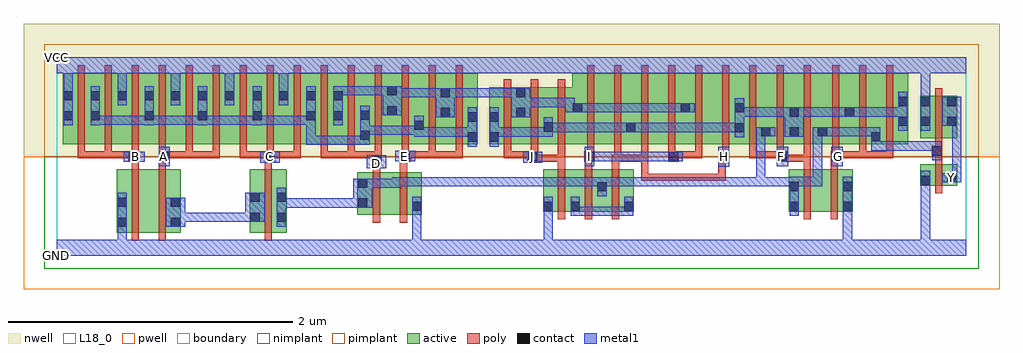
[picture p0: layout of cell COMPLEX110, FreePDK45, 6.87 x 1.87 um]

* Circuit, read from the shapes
.subckt COMPLEX110 A B C D E F G GND H I J VCC Y
M1 n1 B GND VSUBS nfet w=0.45u l=0.05u
M2 n2 A n1 VSUBS nfet w=0.45u l=0.05u
M3 n3 C n2 VSUBS nfet w=0.45u l=0.05u
M4 n4 D n3 VSUBS nfet w=0.3u l=0.05u
M5 GND E n4 VSUBS nfet w=0.3u l=0.05u
M6 n5 J GND VSUBS nfet w=0.3u l=0.05u
M7 n3 I n5 VSUBS nfet w=0.3u l=0.05u
M8 n5 H n3 VSUBS nfet w=0.3u l=0.05u
M9 n6 F n3 VSUBS nfet w=0.3u l=0.05u
M10 GND G n6 VSUBS nfet w=0.3u l=0.05u
M11 Y n3 GND VSUBS nfet w=0.15u l=0.05u
M12 n7 B VCC n8 pfet w=0.5u l=0.05u m=3
M13 VCC A n7 n8 pfet w=0.5u l=0.05u m=3
M14 n7 C VCC n8 pfet w=0.5u l=0.05u m=3
M15 n9 D n7 n8 pfet w=0.5u l=0.05u m=3
M16 n7 E n9 n8 pfet w=0.5u l=0.05u m=3
M17 n9 J n10 n8 pfet w=0.4u l=0.05u m=3
M18 n11 I n9 n8 pfet w=0.5u l=0.05u
M19 n10 H n11 n8 pfet w=0.5u l=0.05u
M20 n12 H n10 n8 pfet w=0.5u l=0.05u
M21 n9 I n12 n8 pfet w=0.5u l=0.05u
M22 n13 I n9 n8 pfet w=0.5u l=0.05u
M23 n10 H n13 n8 pfet w=0.5u l=0.05u
M24 n3 F n10 n8 pfet w=0.5u l=0.05u m=3
M25 n10 G n3 n8 pfet w=0.5u l=0.05u m=3
M26 Y n3 VCC n8 pfet w=0.3u l=0.05u
.ends

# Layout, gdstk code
import gdstk
lib = gdstk.Library(unit=1e-6, precision=1e-09)
def R(c, l, rs):  # rectangles x0, y0, x1, y1
    for r in rs: c.add(gdstk.rectangle(r[:2], r[2:], *l))
def A(c, l, x, y, w, h, nx, ny, dx, dy):  # array of equal rectangles
    R(c, l, [(x+i*dx, y+j*dy, x+i*dx+w, y+j*dy+h) for i in range(nx) for j in range(ny)])
active = (1, 0)
pwell = (2, 0)
nwell = (3, 0)
nimplant = (4, 0)
pimplant = (5, 0)
poly = (9, 0)
contact = (10, 0)
metal1 = (11, 0)
L18_0 = (18, 0)
boundary = (235, 0)

complex110 = lib.new_cell('COMPLEX110')
A(complex110, active, 0.042, 0.787, 0.265, 0.5, 3, 1, 0.19, 0)
A(complex110, active, 1.752, 0.787, 0.265, 0.5, 4, 1, 0.19, 0)
A(complex110, active, 0.797, 0.807, 0.075, 0.448, 3, 1, 0.38, 0)
R(complex110, active, [(0.422,0.162,0.647,0.612), (0.647,0.162,0.872,0.612), (1.357,0.162,1.617,0.612), (0.422,0.182,0.497,0.612), (0.797,0.195,0.872,0.612), (1.357,0.195,1.432,0.612), (1.542,0.195,1.617,0.612), (2.115,0.29,2.345,0.59), (2.345,0.29,2.57,0.59), (2.495,0.29,2.57,0.59), (3.422,0.312,3.497,0.612), (3.422,0.312,3.687,0.612), (3.612,0.312,3.875,0.612), (3.612,0.312,3.687,0.497), (3.8,0.312,4.062,0.612), (3.987,0.312,4.062,0.612), (5.152,0.312,5.227,0.612), (5.152,0.312,5.377,0.612), (5.377,0.312,5.602,0.612), (5.527,0.312,5.602,0.612), (3.8,0.33,3.875,0.525), (2.115,0.332,2.19,0.59), (6.077,0.495,6.152,0.645), (6.077,0.495,6.337,0.645), (6.262,0.495,6.337,0.645), (0.042,0.787,0.117,1.287), (0.612,0.787,0.872,1.287), (0.797,0.787,1.062,1.287), (0.987,0.787,1.252,1.287), (1.177,0.787,1.447,1.287), (1.372,0.787,1.632,1.287), (1.557,0.787,1.827,1.287), (2.132,0.787,2.207,1.07), (2.512,0.787,2.587,1.07), (2.512,0.787,2.772,1.287), (2.697,0.787,2.962,1.287), (2.887,0.787,2.962,1.07), (3.042,0.787,3.117,1.07), (3.042,0.787,3.302,1.187), (3.227,0.787,3.497,1.187), (3.422,0.787,3.497,1.07), (3.422,0.787,3.702,1.187), (3.627,0.787,3.852,1.287), (3.852,0.787,4.077,1.287), (4.002,0.787,4.232,1.287), (4.232,0.787,4.46,1.287), (4.385,0.787,4.612,1.287), (4.612,0.787,4.842,1.287), (4.767,0.787,5.027,1.287), (4.952,0.787,5.227,1.287), (5.152,0.787,5.427,1.287), (5.352,0.787,5.617,1.287), (5.542,0.787,5.802,1.287), (5.727,0.787,5.992,1.287), (5.727,0.787,5.802,1.07), (5.917,0.787,5.992,1.2), (0.232,0.807,0.307,1.2), (0.422,0.807,0.497,1.255), (0.612,0.807,0.687,1.2), (0.987,0.807,1.062,1.2), (1.372,0.807,1.447,1.2), (1.752,0.807,1.827,1.2), (1.942,0.807,2.017,1.2), (2.322,0.807,2.397,1.2), (2.697,0.807,2.772,1.2), (4.002,0.807,4.077,1.07), (4.385,0.807,4.46,1.2), (4.767,0.807,4.842,1.2), (4.952,0.807,5.027,1.07), (5.152,0.807,5.227,1.2), (5.352,0.807,5.427,1.07), (5.542,0.807,5.617,1.2), (6.077,0.827,6.152,1.125), (6.077,0.827,6.337,1.127), (6.262,0.827,6.337,1.125), (3.227,0.907,3.302,1.187), (3.627,0.907,3.702,1.2)])
R(complex110, pwell, [(-0.235,-0.235,6.635,0.7)])
R(complex110, nwell, [(-0.235,0.7,6.635,1.635)])
R(complex110, nimplant, [(-0.09,-0.09,6.49,0.7)])
R(complex110, pimplant, [(-0.09,0.7,6.49,1.49)])
A(complex110, poly, 3.527, 0.257, 0.05, 0.41, 3, 1, 0.19, 0)
A(complex110, poly, 3.527, 0.617, 0.05, 0.095, 3, 1, 0.19, 0)
A(complex110, poly, 0.147, 0.687, 0.05, 0.095, 15, 1, 0.19, 0)
A(complex110, poly, 4.302, 0.687, 0.05, 0.095, 4, 1, 0.19, 0)
A(complex110, poly, 5.457, 0.687, 0.05, 0.095, 3, 1, 0.19, 0)
A(complex110, poly, 0.147, 0.732, 0.05, 0.61, 15, 1, 0.19, 0)
A(complex110, poly, 3.147, 0.732, 0.05, 0.51, 3, 1, 0.19, 0)
A(complex110, poly, 3.732, 0.732, 0.05, 0.61, 7, 1, 0.19, 0)
A(complex110, poly, 5.457, 0.732, 0.05, 0.61, 3, 1, 0.19, 0)
R(complex110, poly, [(0.527,0.107,0.577,0.667), (0.717,0.107,0.767,0.667), (1.462,0.107,1.512,0.667), (2.225,0.235,2.275,0.645), (2.415,0.235,2.465,0.645), (5.257,0.257,5.307,0.667), (5.447,0.257,5.497,0.667), (6.182,0.44,6.232,0.7), (4.112,0.53,4.162,0.712), (4.112,0.53,4.295,0.58), (4.245,0.53,4.295,0.58), (4.245,0.53,4.295,0.58), (4.245,0.53,4.295,0.58), (4.245,0.53,4.575,0.58), (4.525,0.53,4.575,0.58), (4.525,0.53,4.575,0.58), (4.525,0.53,4.575,0.58), (4.525,0.53,4.707,0.58), (4.657,0.53,4.707,0.58), (4.657,0.53,4.707,0.712), (2.225,0.595,2.275,0.69), (2.415,0.595,2.465,0.712), (0.527,0.617,0.577,0.712), (0.717,0.617,0.767,0.712), (1.462,0.617,1.512,0.712), (5.257,0.617,5.307,0.712), (5.447,0.617,5.497,0.712), (2.212,0.64,2.287,0.737), (6.182,0.65,6.232,0.752), (0.502,0.662,0.577,0.737), (0.717,0.662,0.792,0.737), (1.462,0.662,1.537,0.737), (2.415,0.662,2.49,0.737), (3.312,0.662,3.387,0.737), (3.337,0.662,3.577,0.712), (3.527,0.662,3.577,0.712), (3.527,0.662,3.577,0.712), (3.527,0.662,3.577,0.712), (3.527,0.662,3.577,0.782), (3.712,0.662,3.787,0.737), (3.907,0.662,3.972,0.712), (3.922,0.662,3.972,0.712), (3.922,0.662,3.972,0.712), (3.922,0.662,4.162,0.712), (3.922,0.662,3.972,0.782), (4.112,0.662,4.162,0.712), (4.112,0.662,4.162,0.712), (4.112,0.662,4.162,0.712), (4.112,0.662,4.162,0.712), (4.112,0.662,4.162,0.712), (4.112,0.662,4.162,0.712), (4.112,0.662,4.162,0.782), (4.302,0.662,4.377,0.737), (4.657,0.662,4.732,0.737), (4.657,0.662,4.707,0.712), (4.657,0.662,4.707,0.712), (5.067,0.662,5.142,0.737), (5.092,0.662,5.142,0.712), (5.092,0.662,5.142,0.712), (5.092,0.662,5.307,0.712), (5.257,0.662,5.307,0.712), (5.257,0.662,5.307,0.782), (5.447,0.662,5.522,0.737), (0.147,0.687,0.197,0.737), (0.147,0.687,0.387,0.737), (0.337,0.687,0.387,0.737), (0.337,0.687,0.387,0.737), (0.337,0.687,0.387,0.737), (0.337,0.687,0.552,0.737), (0.502,0.687,0.552,0.737), (0.502,0.687,0.552,0.737), (0.742,0.687,0.792,0.737), (0.742,0.687,0.792,0.737), (0.742,0.687,0.957,0.737), (0.907,0.687,0.957,0.737), (0.907,0.687,1.147,0.737), (1.097,0.687,1.147,0.737), (1.097,0.687,1.147,0.737), (1.097,0.687,1.147,0.737), (1.287,0.687,1.337,0.737), (1.287,0.687,1.512,0.737), (1.462,0.687,1.512,0.737), (1.462,0.687,1.512,0.737), (1.487,0.687,1.717,0.737), (1.667,0.687,1.717,0.737), (1.667,0.687,1.717,0.737), (1.667,0.687,1.717,0.737), (1.857,0.687,1.907,0.737), (1.857,0.687,1.907,0.737), (1.857,0.687,1.907,0.737), (1.857,0.687,2.097,0.737), (2.047,0.687,2.097,0.737), (2.047,0.687,2.262,0.737), (2.212,0.687,2.262,0.737), (2.212,0.687,2.262,0.737), (2.44,0.687,2.49,0.737), (2.44,0.687,2.49,0.737), (2.44,0.687,2.667,0.737), (2.617,0.687,2.667,0.737), (2.617,0.687,2.667,0.737), (2.617,0.687,2.667,0.737), (2.617,0.687,2.857,0.737), (2.807,0.687,2.857,0.737), (3.147,0.687,3.197,0.782), (3.147,0.687,3.197,0.737), (3.147,0.687,3.362,0.737), (3.312,0.687,3.362,0.737), (3.312,0.687,3.362,0.737), (3.337,0.687,3.387,0.782), (3.732,0.687,3.782,0.782), (4.327,0.687,4.377,0.737), (4.327,0.687,4.377,0.737), (4.327,0.687,4.542,0.737), (4.492,0.687,4.542,0.737), (4.872,0.687,4.922,0.737), (4.872,0.687,4.922,0.737), (4.872,0.687,4.922,0.737), (4.872,0.687,5.117,0.737), (5.067,0.687,5.117,0.782), (5.472,0.687,5.697,0.737), (5.647,0.687,5.697,0.737), (5.647,0.687,5.697,0.737), (5.647,0.687,5.697,0.737), (5.647,0.687,5.887,0.737), (5.837,0.687,5.887,0.737), (5.837,0.687,5.887,0.737), (5.837,0.687,5.887,0.737), (6.157,0.702,6.232,0.777), (6.182,0.727,6.232,0.822), (5.067,0.732,5.117,1.342), (5.257,0.732,5.307,1.342), (6.182,0.772,6.232,1.182)])
A(complex110, contact, 0.047, 1.095, 0.065, 0.065, 4, 1, 0.19, 0)
A(complex110, contact, 0.802, 1.095, 0.065, 0.065, 3, 1, 0.19, 0)
R(complex110, contact, [(0.427,0.205,0.492,0.27), (0.802,0.205,0.867,0.27), (1.362,0.24,1.427,0.305), (1.547,0.24,1.612,0.305), (2.5,0.317,2.565,0.382), (3.427,0.317,3.492,0.382), (3.617,0.317,3.682,0.382), (3.992,0.317,4.057,0.382), (5.157,0.317,5.222,0.382), (5.532,0.317,5.597,0.382), (2.12,0.34,2.185,0.405), (0.427,0.345,0.492,0.41), (0.802,0.345,0.867,0.41), (1.362,0.38,1.427,0.445), (1.547,0.38,1.612,0.445), (3.805,0.455,3.87,0.52), (5.157,0.457,5.222,0.522), (5.532,0.457,5.597,0.522), (2.12,0.48,2.185,0.545), (6.082,0.5,6.147,0.565), (6.267,0.517,6.332,0.582), (2.217,0.645,2.282,0.71), (0.507,0.667,0.572,0.732), (0.722,0.667,0.787,0.732), (1.467,0.667,1.532,0.732), (2.42,0.667,2.485,0.732), (3.317,0.667,3.382,0.732), (3.717,0.667,3.782,0.732), (4.307,0.667,4.372,0.732), (4.662,0.667,4.727,0.732), (5.072,0.667,5.137,0.732), (5.452,0.667,5.517,0.732), (6.162,0.707,6.227,0.772), (2.892,0.805,2.957,0.87), (3.047,0.805,3.112,0.87), (5.732,0.807,5.797,0.872), (2.137,0.817,2.202,0.882), (5.157,0.84,5.222,0.905), (4.957,0.842,5.022,0.907), (5.357,0.842,5.422,0.907), (4.772,0.87,4.837,0.935), (4.007,0.872,4.072,0.937), (3.427,0.875,3.492,0.94), (2.517,0.887,2.582,0.952), (5.922,0.915,5.987,0.98), (6.082,0.915,6.147,0.98), (6.267,0.915,6.332,0.98), (2.892,0.945,2.957,1.01), (3.047,0.945,3.112,1.01), (0.047,0.955,0.112,1.02), (0.237,0.955,0.302,1.02), (0.617,0.955,0.682,1.02), (0.992,0.955,1.057,1.02), (1.377,0.955,1.442,1.02), (1.757,0.955,1.822,1.02), (1.947,0.955,2.012,1.02), (2.137,0.957,2.202,1.022), (2.702,0.977,2.767,1.042), (3.232,0.977,3.297,1.042), (5.157,0.98,5.222,1.045), (5.547,0.98,5.612,1.045), (2.327,0.99,2.392,1.055), (3.632,1.01,3.697,1.075), (4.39,1.01,4.455,1.075), (4.772,1.01,4.837,1.075), (5.922,1.055,5.987,1.12), (6.082,1.055,6.147,1.12), (6.267,1.055,6.332,1.12), (1.377,1.095,1.442,1.16), (1.562,1.095,1.627,1.16), (1.757,1.095,1.822,1.16), (1.947,1.095,2.012,1.16), (2.702,1.117,2.767,1.182), (3.232,1.117,3.297,1.182), (2.327,1.13,2.392,1.195)])
A(complex110, metal1, 3.805, 0.49, 0.202, 0.065, 3, 1, 0.275, 0)
A(complex110, metal1, 0.855, 0.922, 0.202, 0.065, 3, 1, 0.275, 0)
A(complex110, metal1, 3.667, 1.01, 0.203, 0.065, 3, 1, 0.275, 0)
A(complex110, metal1, 0.802, 1.06, 0.065, 0.135, 3, 1, 0.38, 0)
A(complex110, metal1, 0.802, 1.13, 0.065, 0.22, 3, 1, 0.38, 0)
R(complex110, metal1, [(0,0,6.4,0.115), (0.427,0.05,0.492,0.115), (0.427,0.05,0.492,0.115), (0.427,0.05,0.492,0.235), (2.5,0.05,2.565,0.347), (3.427,0.05,3.492,0.115), (3.427,0.05,3.492,0.115), (3.427,0.05,3.492,0.347), (5.532,0.05,5.597,0.347), (6.082,0.05,6.147,0.115), (6.082,0.05,6.147,0.115), (6.082,0.05,6.147,0.115), (6.082,0.05,6.147,0.115), (6.082,0.05,6.147,0.115), (6.082,0.05,6.147,0.115), (6.082,0.05,6.147,0.53), (0.427,0.17,0.492,0.445), (0.767,0.205,0.902,0.41), (1.547,0.205,1.612,0.48), (0.837,0.24,1.057,0.305), (0.992,0.24,1.057,0.305), (0.992,0.24,1.057,0.305), (0.992,0.24,1.057,0.305), (0.992,0.24,1.195,0.305), (1.13,0.24,1.195,0.305), (1.13,0.24,1.195,0.305), (1.13,0.24,1.195,0.305), (1.13,0.24,1.332,0.305), (1.267,0.24,1.332,0.305), (1.267,0.24,1.392,0.305), (1.327,0.24,1.462,0.445), (2.5,0.282,2.565,0.347), (2.5,0.282,2.565,0.347), (2.5,0.282,2.565,0.347), (2.5,0.282,2.565,0.347), (2.5,0.282,2.565,0.417), (3.427,0.282,3.492,0.347), (3.427,0.282,3.492,0.347), (3.427,0.282,3.492,0.417), (3.617,0.282,3.682,0.417), (3.617,0.282,3.87,0.347), (3.805,0.282,3.87,0.347), (3.805,0.282,3.87,0.347), (3.805,0.282,3.87,0.347), (3.805,0.282,4.007,0.347), (3.942,0.282,4.007,0.347), (3.942,0.282,4.057,0.347), (3.992,0.282,4.057,0.417), (5.157,0.282,5.222,0.557), (5.532,0.282,5.597,0.347), (5.532,0.282,5.597,0.347), (5.532,0.282,5.597,0.347), (5.532,0.282,5.597,0.347), (5.532,0.282,5.597,0.557), (1.547,0.34,1.612,0.405), (1.547,0.34,1.612,0.405), (1.547,0.34,1.875,0.405), (1.81,0.34,1.875,0.405), (1.81,0.34,1.875,0.405), (1.81,0.34,1.875,0.405), (1.81,0.34,2.012,0.405), (1.947,0.34,2.012,0.405), (1.947,0.34,2.012,0.405), (1.947,0.34,2.012,0.405), (1.947,0.34,2.15,0.405), (2.085,0.34,2.22,0.545), (3.805,0.42,3.87,0.555), (6.082,0.465,6.147,0.6), (2.155,0.48,2.22,0.545), (2.155,0.48,2.22,0.545), (2.155,0.48,2.427,0.545), (2.362,0.48,2.427,0.545), (2.362,0.48,2.427,0.545), (2.362,0.48,2.427,0.555), (2.362,0.49,2.582,0.555), (2.517,0.49,2.582,0.555), (2.517,0.49,2.582,0.555), (2.517,0.49,2.582,0.555), (2.517,0.49,2.82,0.555), (2.755,0.49,2.82,0.555), (2.755,0.49,2.82,0.555), (2.755,0.49,2.82,0.555), (2.755,0.49,2.975,0.555), (2.91,0.49,2.975,0.555), (2.91,0.49,3.112,0.555), (3.047,0.49,3.112,0.555), (3.047,0.49,3.112,0.555), (3.047,0.49,3.112,0.555), (3.047,0.49,3.25,0.555), (3.185,0.49,3.25,0.555), (3.185,0.49,3.25,0.555), (3.185,0.49,3.25,0.555), (3.185,0.49,3.47,0.555), (3.405,0.49,3.47,0.555), (3.405,0.49,3.645,0.555), (3.58,0.49,3.645,0.555), (3.58,0.49,3.645,0.555), (3.58,0.49,3.645,0.555), (3.58,0.49,3.87,0.555), (3.805,0.49,3.87,0.555), (3.805,0.49,3.87,0.555), (3.942,0.49,4.007,0.555), (3.942,0.49,4.145,0.555), (4.08,0.49,4.145,0.555), (4.08,0.49,4.145,0.555), (4.08,0.49,4.145,0.555), (4.217,0.49,4.282,0.555), (4.217,0.49,4.282,0.555), (4.217,0.49,4.282,0.555), (4.217,0.49,4.42,0.555), (4.355,0.49,4.42,0.555), (4.355,0.49,4.42,0.555), (4.355,0.49,4.42,0.555), (4.492,0.49,4.557,0.555), (4.492,0.49,4.557,0.555), (4.492,0.49,4.557,0.555), (4.492,0.49,4.832,0.555), (4.767,0.49,4.832,0.555), (4.767,0.49,4.832,0.555), (4.767,0.49,4.832,0.555), (4.767,0.49,4.987,0.555), (4.922,0.49,4.987,0.555), (4.922,0.49,4.987,0.555), (4.922,0.49,4.987,0.555), (4.922,0.49,4.987,0.555), (4.922,0.49,4.987,0.555), (4.922,0.49,5.222,0.555), (4.922,0.49,4.987,0.907), (5.157,0.492,5.222,0.557), (5.157,0.492,5.222,0.557), (5.157,0.492,5.387,0.557), (5.322,0.492,5.387,0.557), (5.322,0.492,5.387,0.907), (6.232,0.517,6.367,0.582), (6.302,0.517,6.367,0.98), (6.302,0.517,6.367,0.582), (6.302,0.517,6.367,0.582), (2.182,0.617,2.317,0.71), (4.657,0.627,4.732,0.767), (0.717,0.632,0.795,0.77), (3.717,0.632,3.782,0.767), (5.067,0.632,5.147,0.767), (5.452,0.632,5.532,0.767), (1.432,0.657,1.567,0.735), (3.282,0.657,3.417,0.735), (0.47,0.662,0.617,0.732), (2.382,0.667,2.522,0.742), (3.717,0.667,3.87,0.732), (3.805,0.667,3.87,0.732), (3.805,0.667,4.007,0.732), (3.942,0.667,4.007,0.732), (3.942,0.667,4.007,0.732), (3.942,0.667,4.007,0.732), (3.942,0.667,4.145,0.732), (4.08,0.667,4.145,0.732), (4.08,0.667,4.282,0.732), (4.217,0.667,4.282,0.732), (4.217,0.667,4.337,0.732), (4.272,0.667,4.407,0.732), (6.162,0.672,6.227,0.807), (5.732,0.742,6.09,0.807), (5.732,0.742,5.797,0.837), (6.025,0.742,6.09,0.807), (6.025,0.742,6.09,0.807), (6.025,0.742,6.09,0.807), (6.025,0.742,6.09,0.807), (6.025,0.742,6.09,0.807), (6.025,0.742,6.09,0.807), (6.025,0.742,6.09,0.807), (6.025,0.742,6.227,0.807), (2.892,0.77,2.957,1.045), (3.047,0.77,3.112,1.045), (5.732,0.772,5.797,0.837), (5.732,0.772,5.797,0.907), (1.757,0.782,1.822,0.847), (1.757,0.782,1.822,0.847), (1.757,0.782,1.822,0.847), (1.757,0.782,2.012,0.847), (1.757,0.782,1.822,0.985), (1.947,0.782,2.012,0.847), (1.947,0.782,2.012,0.847), (1.947,0.782,2.012,0.847), (1.947,0.782,2.202,0.847), (2.137,0.782,2.202,1.057), (4.772,0.835,4.837,1.11), (2.517,0.84,2.82,0.905), (2.517,0.84,2.582,0.917), (2.755,0.84,2.82,0.905), (2.755,0.84,2.82,0.905), (2.755,0.84,2.82,0.905), (2.755,0.84,2.957,0.905), (3.047,0.84,3.112,0.905), (3.047,0.84,3.112,0.905), (3.047,0.84,3.25,0.905), (3.185,0.84,3.25,0.905), (3.185,0.84,3.492,0.905), (3.427,0.84,3.492,0.905), (3.427,0.84,3.492,0.905), (3.427,0.84,3.492,0.975), (5.122,0.84,5.257,1.045), (4.922,0.842,5.057,0.907), (5.322,0.842,5.387,0.907), (5.322,0.842,5.387,0.907), (5.322,0.842,5.457,0.907), (5.375,0.842,5.44,0.907), (5.375,0.842,5.44,0.907), (5.375,0.842,5.44,0.907), (5.375,0.842,5.44,0.907), (5.375,0.842,5.595,0.907), (5.53,0.842,5.595,0.907), (5.53,0.842,5.595,0.907), (5.53,0.842,5.595,0.907), (5.53,0.842,5.797,0.907), (2.137,0.852,2.202,0.917), (2.137,0.852,2.202,0.917), (2.137,0.852,2.357,0.917), (2.292,0.852,2.357,0.917), (2.292,0.852,2.427,0.917), (2.362,0.852,2.427,0.917), (2.362,0.852,2.582,0.917), (2.517,0.852,2.582,0.917), (2.517,0.852,2.582,0.987), (3.427,0.872,3.645,0.937), (3.58,0.872,3.645,0.937), (3.58,0.872,3.645,0.937), (3.58,0.872,3.645,0.937), (3.58,0.872,3.87,0.937), (3.805,0.872,3.87,0.937), (3.805,0.872,3.87,0.937), (3.805,0.872,3.87,0.937), (3.805,0.872,4.007,0.937), (3.942,0.872,4.007,0.937), (3.942,0.872,4.037,0.937), (3.972,0.872,4.107,0.937), (4.042,0.872,4.107,0.937), (4.042,0.872,4.107,0.937), (4.042,0.872,4.145,0.937), (4.08,0.872,4.145,0.937), (4.08,0.872,4.282,0.937), (4.217,0.872,4.282,0.937), (4.217,0.872,4.282,0.937), (4.217,0.872,4.282,0.937), (4.217,0.872,4.42,0.937), (4.355,0.872,4.42,0.937), (4.355,0.872,4.42,0.937), (4.355,0.872,4.42,0.937), (4.355,0.872,4.695,0.937), (4.63,0.872,4.695,0.937), (4.63,0.872,4.695,0.937), (4.63,0.872,4.695,0.937), (4.63,0.872,4.837,0.937), (5.922,0.88,5.987,1.155), (6.082,0.88,6.147,1.155), (6.232,0.915,6.367,1.12), (0.047,0.92,0.112,1.195), (0.237,0.92,0.302,1.195), (0.617,0.92,0.682,1.195), (0.992,0.92,1.057,1.195), (1.377,0.92,1.442,1.195), (1.757,0.92,1.822,1.195), (1.947,0.92,2.012,1.195), (0.237,0.922,0.302,0.987), (0.237,0.922,0.302,0.987), (0.237,0.922,0.545,0.987), (0.48,0.922,0.545,0.987), (0.48,0.922,0.545,0.987), (0.48,0.922,0.545,0.987), (0.48,0.922,0.682,0.987), (0.617,0.922,0.92,0.987), (0.855,0.922,0.92,0.987), (0.855,0.922,0.92,0.987), (0.855,0.922,0.92,0.987), (0.992,0.922,1.057,0.987), (0.992,0.922,1.057,0.987), (0.992,0.922,1.195,0.987), (1.13,0.922,1.195,0.987), (1.13,0.922,1.195,0.987), (1.13,0.922,1.195,0.987), (1.267,0.922,1.332,0.987), (1.267,0.922,1.442,0.987), (1.377,0.922,1.47,0.987), (1.405,0.922,1.47,0.987), (1.542,0.922,1.607,0.987), (1.542,0.922,1.607,0.987), (1.542,0.922,1.607,0.987), (1.542,0.922,1.822,0.987), (2.667,0.977,2.802,1.182), (3.197,0.977,3.332,1.182), (4.772,0.98,4.837,1.045), (4.772,0.98,4.837,1.045), (4.772,0.98,5.05,1.045), (4.985,0.98,5.05,1.045), (4.985,0.98,5.05,1.045), (4.985,0.98,5.05,1.045), (4.985,0.98,5.187,1.045), (5.185,0.98,5.25,1.045), (5.185,0.98,5.25,1.045), (5.185,0.98,5.25,1.045), (5.185,0.98,5.25,1.045), (5.185,0.98,5.395,1.045), (5.33,0.98,5.395,1.045), (5.33,0.98,5.395,1.045), (5.33,0.98,5.395,1.045), (5.33,0.98,5.577,1.045), (5.512,0.98,5.647,1.045), (5.582,0.98,5.647,1.045), (5.582,0.98,5.647,1.045), (5.582,0.98,5.785,1.045), (5.72,0.98,5.785,1.045), (5.72,0.98,5.785,1.045), (5.72,0.98,5.785,1.045), (5.72,0.98,5.987,1.045), (2.292,0.99,2.427,1.195), (3.58,1.01,3.645,1.075), (3.58,1.01,3.732,1.075), (3.58,1.01,3.645,1.112), (3.805,1.01,3.87,1.075), (3.805,1.01,3.87,1.075), (3.805,1.01,3.87,1.075), (3.805,1.01,4.007,1.075), (3.942,1.01,4.007,1.075), (3.942,1.01,4.007,1.075), (3.942,1.01,4.007,1.075), (4.08,1.01,4.145,1.075), (4.08,1.01,4.282,1.075), (4.217,1.01,4.282,1.075), (4.217,1.01,4.282,1.075), (4.217,1.01,4.282,1.075), (4.355,1.01,4.49,1.075), (3.267,1.047,3.332,1.112), (3.267,1.047,3.332,1.112), (3.267,1.047,3.507,1.112), (3.442,1.047,3.507,1.112), (3.442,1.047,3.645,1.112), (0.427,1.06,0.492,1.195), (6.082,1.09,6.147,1.155), (6.082,1.09,6.147,1.155), (6.082,1.09,6.147,1.35), (2.362,1.117,2.427,1.182), (2.362,1.117,2.427,1.182), (2.362,1.117,2.565,1.182), (2.5,1.117,2.565,1.182), (2.5,1.117,2.565,1.182), (2.5,1.117,2.565,1.182), (2.5,1.117,2.732,1.182), (2.737,1.117,2.802,1.182), (2.737,1.117,2.802,1.182), (2.737,1.117,2.975,1.182), (2.91,1.117,2.975,1.182), (2.91,1.117,3.112,1.182), (3.047,1.117,3.112,1.182), (3.047,1.117,3.112,1.182), (3.047,1.117,3.112,1.182), (3.047,1.117,3.262,1.182), (0.047,1.13,0.112,1.35), (0.427,1.13,0.492,1.35), (1.947,1.13,2.012,1.195), (1.947,1.13,2.012,1.195), (1.947,1.13,2.22,1.195), (2.155,1.13,2.22,1.195), (2.155,1.13,2.22,1.195), (2.155,1.13,2.22,1.195), (2.155,1.13,2.357,1.195), (0,1.285,6.4,1.4)])
A(complex110, L18_0, 4.667, 0.667, 0.065, 0.065, 3, 1, 0.4, 0)
A(complex110, L18_0, 0.802, 1.06, 0.065, 0.135, 3, 1, 0.38, 0)
A(complex110, L18_0, 0.802, 1.13, 0.065, 0.22, 3, 1, 0.38, 0)
R(complex110, L18_0, [(0,0,6.4,0.115), (0.427,0.05,0.492,0.115), (0.427,0.05,0.492,0.115), (0.427,0.05,0.492,0.235), (2.5,0.05,2.565,0.347), (3.427,0.05,3.492,0.115), (3.427,0.05,3.492,0.115), (3.427,0.05,3.492,0.347), (5.532,0.05,5.597,0.347), (6.082,0.05,6.147,0.115), (6.082,0.05,6.147,0.115), (6.082,0.05,6.147,0.115), (6.082,0.05,6.147,0.115), (6.082,0.05,6.147,0.115), (6.082,0.05,6.147,0.115), (6.082,0.05,6.147,0.53), (0.427,0.17,0.492,0.445), (2.5,0.282,2.565,0.347), (2.5,0.282,2.565,0.347), (2.5,0.282,2.565,0.347), (2.5,0.282,2.565,0.347), (2.5,0.282,2.565,0.417), (3.427,0.282,3.492,0.347), (3.427,0.282,3.492,0.347), (3.427,0.282,3.492,0.417), (5.532,0.282,5.597,0.557), (5.532,0.282,5.597,0.347), (5.532,0.282,5.597,0.347), (5.532,0.282,5.597,0.347), (5.532,0.282,5.597,0.347), (6.082,0.465,6.147,0.6), (6.232,0.517,6.367,0.582), (6.267,0.517,6.332,0.582), (6.302,0.517,6.367,0.582), (6.302,0.517,6.367,0.582), (6.302,0.517,6.367,0.98), (2.182,0.617,2.317,0.71), (2.217,0.617,2.282,0.682), (4.657,0.627,4.732,0.767), (0.717,0.632,0.795,0.77), (3.717,0.632,3.782,0.767), (5.067,0.632,5.147,0.767), (5.452,0.632,5.532,0.767), (1.432,0.657,1.567,0.735), (3.282,0.657,3.417,0.735), (0.47,0.662,0.617,0.732), (0.517,0.667,0.582,0.732), (0.717,0.667,0.782,0.732), (1.467,0.667,1.532,0.732), (2.382,0.667,2.522,0.742), (2.417,0.667,2.482,0.732), (3.317,0.667,3.382,0.732), (3.717,0.667,3.782,0.732), (3.717,0.667,3.87,0.732), (3.805,0.667,3.87,0.732), (3.805,0.667,4.007,0.732), (3.942,0.667,4.007,0.732), (3.942,0.667,4.007,0.732), (3.942,0.667,4.007,0.732), (3.942,0.667,4.145,0.732), (4.08,0.667,4.145,0.732), (4.08,0.667,4.282,0.732), (4.217,0.667,4.282,0.732), (4.217,0.667,4.337,0.732), (4.272,0.667,4.407,0.732), (6.082,0.88,6.147,1.155), (6.232,0.915,6.367,1.12), (0.047,0.92,0.112,1.195), (0.427,1.06,0.492,1.195), (6.082,1.09,6.147,1.155), (6.082,1.09,6.147,1.155), (6.082,1.09,6.147,1.35), (0.047,1.13,0.112,1.35), (0.427,1.13,0.492,1.35), (0,1.285,6.4,1.4)])
R(complex110, boundary, [(0,0,6.4,1.4)])
complex110.add(gdstk.Label('A', (0.75,0.7), layer=11, texttype=0))
complex110.add(gdstk.Label('B', (0.55,0.7), layer=11, texttype=0))
complex110.add(gdstk.Label('C', (1.5,0.7), layer=11, texttype=0))
complex110.add(gdstk.Label('D', (2.25,0.65), layer=11, texttype=0))
complex110.add(gdstk.Label('E', (2.45,0.7), layer=11, texttype=0))
complex110.add(gdstk.Label('F', (5.1,0.7), layer=11, texttype=0))
complex110.add(gdstk.Label('G', (5.5,0.7), layer=11, texttype=0))
complex110.add(gdstk.Label('H', (4.7,0.7), layer=11, texttype=0))
complex110.add(gdstk.Label('I', (3.75,0.7), layer=11, texttype=0))
complex110.add(gdstk.Label('J', (3.35,0.7), layer=11, texttype=0))
complex110.add(gdstk.Label('Y', (6.3,0.55), layer=11, texttype=0))
complex110.add(gdstk.Label('VCC', (0,1.4), layer=11, texttype=0))
complex110.add(gdstk.Label('GND', (0,0), layer=11, texttype=0))

lib.write_gds('COMPLEX110.gds')
